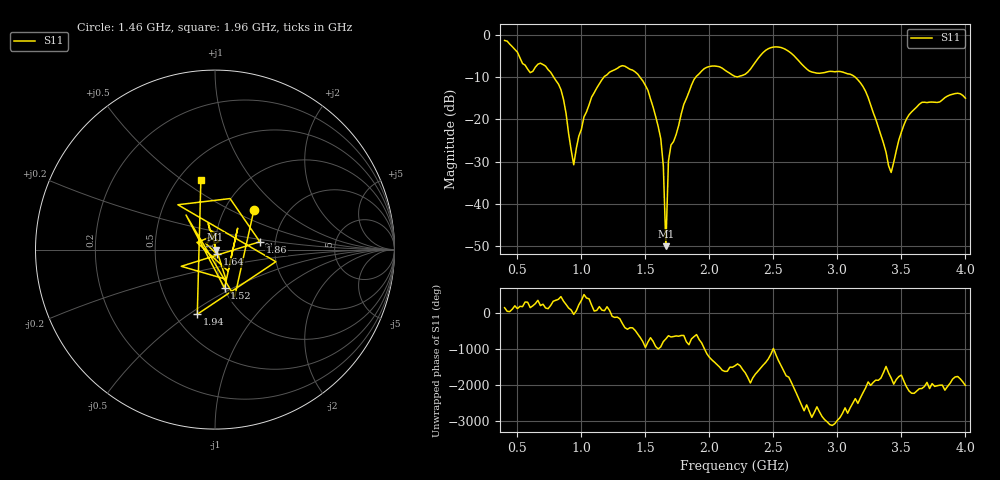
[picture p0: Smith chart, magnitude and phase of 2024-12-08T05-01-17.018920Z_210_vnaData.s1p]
!Created with skrf (http://scikit-rf.org).
# Hz S RI R 50.0
!freq ReS11 ImS11
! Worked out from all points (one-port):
!   181 points, 400 MHz to 4 GHz, reference 50 ohm
!   lowest |S11| = -50.0 dB at 1.66 GHz (marker M1), VSWR 1.01, Z = 50.3 + j0.053 ohm
!   |S11| at or under -10 dB: 783.3 MHz to 1.176 GHz (392.8 MHz wide, 40.1 % of centre); 1.457 GHz to 1.894 GHz (437.4 MHz wide, 26.1 % of centre); 3.139 GHz to end of sweep
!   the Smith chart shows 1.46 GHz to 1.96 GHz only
!   S11 on the Smith chart (normalised r, x): 1.46 GHz: 1.36, +0.67; 1.52 GHz: 1.01, -0.45; 1.64 GHz: 1.02, -0.05; 1.86 GHz: 1.66, +0.16; 1.94 GHz: 0.64, -0.54; 1.96 GHz: 0.64, +0.59
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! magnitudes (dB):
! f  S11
! 400 MHz  -1.3
! 600 MHz  -9.0
! 720 MHz  -7.4
! 860 MHz  -15.3
! 940 MHz  -30.7
! 980 MHz  -23.9
! 1.08 GHz  -14.7
! 1.3 GHz  -7.5
! 1.46 GHz  -10.1
! 1.52 GHz  -13.1
! 1.62 GHz  -24.6
! 1.64 GHz  -30.9
! 1.66 GHz  -50.0
! 1.68 GHz  -29.8
! 1.76 GHz  -21.4
! 1.86 GHz  -11.9
! 1.94 GHz  -8.6
! 1.96 GHz  -8.0
! 2.2 GHz  -9.9
! 2.48 GHz  -3.0
! 2.66 GHz  -4.9
! 2.8 GHz  -8.8
! 3.1 GHz  -9.3
! 3.24 GHz  -14.8
! 3.42 GHz  -32.6
! 3.56 GHz  -18.9
! 3.66 GHz  -16.0
! 4 GHz  -15.0
